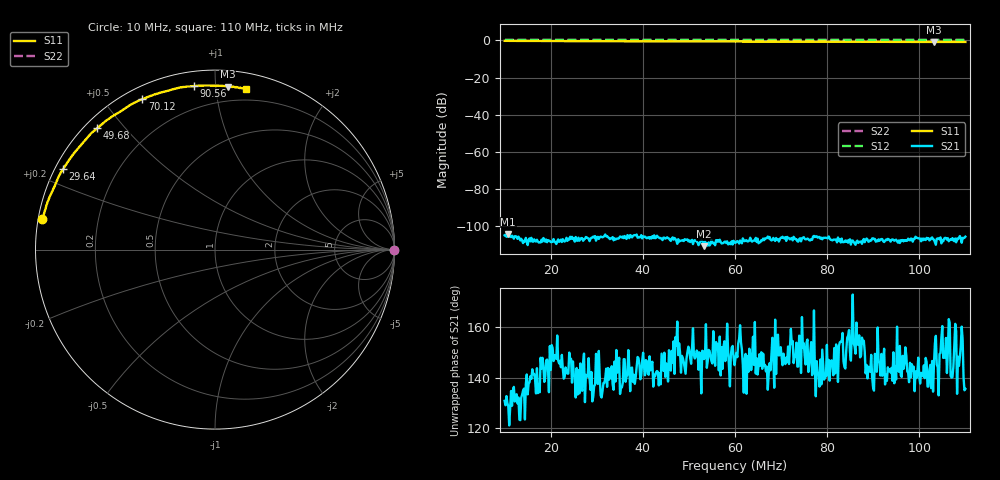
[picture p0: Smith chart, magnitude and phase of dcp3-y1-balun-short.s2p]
! Anritsu VNA Master:  Model: MS2034B/10/19/501
! SN:  1337062
! /bd0/ovro-jan-2016/dcp3-y1-balun-short.s2p
! Existing Calibration Information:
! TYPE:  Current Settings,  Active Cal Settings
! TIME:  01/14/2016 12:09:33 PM,  01/14/2016 12:01:10 PM
! INTERNAL TEMP:  44.0 C,  43.8 C
! # POINTS:  500,  500
! START FREQ:  10.000 MHz,  10.000 MHz
! STOP FREQ:  110.000 MHz,  110.000 MHz
! SOURCE POWER:  High,  High
! IFBW:  100 Hz,  100 Hz
! AVG FACTOR:  4 ,  4
! REF PLANE 1:  0 mm,  0 mm
! REF PLANE 2:  0 mm,  0 mm
! CAL TYPE:  Full S11,  Full S11
! CAL METHOD:  SOLT,  SOLT
! CAL LINE TYPE:  Coax,  Coax
! DUT PORT 1:  K-Conn(M),  K-Conn(M)
! DUT PORT 2:  N-Conn(M),  N-Conn(M)
! CAL STATUS:  OK: Accuracy High,  --
# GHZ S DB R 50.0
! FREQ.GHZ  S11DB  S11A  S21DB  S21A  S12DB  S12A  S22DB  S22A
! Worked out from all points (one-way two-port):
!   500 points, 10 MHz to 110 MHz, reference 50 ohm
!   highest |S21| = -104.18 dB at 10.8 MHz (marker M1); lowest = -110.7 dB at 53.29 MHz (marker M2)
!   lowest |S11| = -0.8 dB at 103.2 MHz (marker M3), VSWR 21.35, Z = 5.07 + j53.8 ohm
!   |S11| at or under -10 dB: nowhere
!   |S22| runs from 0.0 to 0.0 dB; largest |S21 - S12| = 1
!   S11 on the Smith chart (normalised r, x): 10 MHz: 0.01, +0.09; 29.64 MHz: 0.02, +0.25; 49.68 MHz: 0.04, +0.42; 70.12 MHz: 0.05, +0.63; 90.56 MHz: 0.07, +0.88; 110 MHz: 0.11, +1.20
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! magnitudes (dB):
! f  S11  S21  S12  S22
! 10 MHz  -0.2  -104.8  0.0  0.0
! 10.8 MHz  -0.2  -104.2  0.0  0.0
! 17.62 MHz  -0.3  -108.5  0.0  0.0
! 22.42 MHz  -0.3  -108.5  0.0  0.0
! 26.83 MHz  -0.3  -106.4  0.0  0.0
! 29.64 MHz  -0.4  -105.2  0.0  0.0
! 39.66 MHz  -0.5  -104.7  0.0  0.0
! 43.47 MHz  -0.5  -106.1  0.0  0.0
! 46.67 MHz  -0.5  -107.2  0.0  0.0
! 49.68 MHz  -0.5  -107.0  0.0  0.0
! 53.29 MHz  -0.5  -110.7  0.0  0.0
! 60.1 MHz  -0.6  -108.9  0.0  0.0
! 65.31 MHz  -0.6  -108.6  0.0  0.0
! 70.12 MHz  -0.6  -106.1  0.0  0.0
! 76.73 MHz  -0.7  -107.3  0.0  0.0
! 80.54 MHz  -0.7  -106.6  0.0  0.0
! 84.75 MHz  -0.7  -107.4  0.0  0.0
! 90.56 MHz  -0.7  -108.3  0.0  0.0
! 93.37 MHz  -0.8  -107.0  0.0  0.0
! 97.17 MHz  -0.8  -107.4  0.0  0.0
! 103.2 MHz  -0.8  -107.2  0.0  0.0
! 110 MHz  -0.8  -105.6  0.0  0.0
